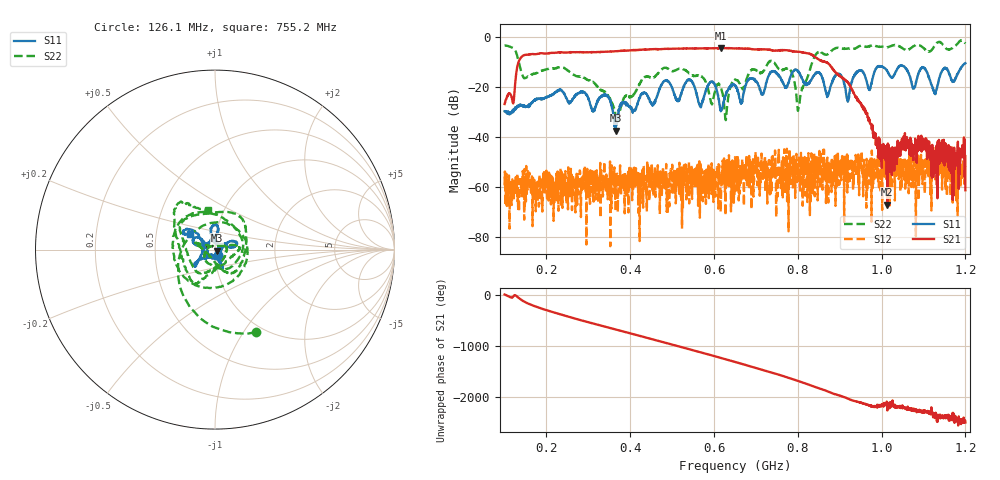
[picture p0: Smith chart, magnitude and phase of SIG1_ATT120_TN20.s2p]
# Hz S DB R 50
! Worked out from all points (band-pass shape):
!   1601 points, 100 MHz to 1.2 GHz, reference 50 ohm
!   highest |S21| = -4.54 dB at 617 MHz (marker M1); lowest = -67.0 dB at 1.014 GHz (marker M2)
!   |S21| within 3 dB of the highest: 144.6 MHz to 836.5 MHz (692 MHz wide, 141 % of centre)
!   lowest |S11| = -37.6 dB at 365.4 MHz (marker M3), VSWR 1.03, Z = 51.2 - j0.52 ohm
!   |S11| at or under -10 dB: start of sweep to end of sweep
!   |S22| runs from -33.8 to -1.5 dB; largest |S21 - S12| = 0.59
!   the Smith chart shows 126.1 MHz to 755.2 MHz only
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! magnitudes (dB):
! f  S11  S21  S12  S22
! 100 MHz  -29.8  -26.9  -59.4  -3.5
! 144 MHz  -27.9  -7.6  -56.1  -16.0
! 283.6 MHz  -22.2  -6.2  -61.4  -16.0
! 344.1 MHz  -23.4  -6.0  -57.1  -22.9
! 365.4 MHz  -37.6  -5.8  -69.9  -31.6
! 467.1 MHz  -22.3  -5.0  -55.4  -14.5
! 542.1 MHz  -17.2  -4.7  -57.0  -14.7
! 567.5 MHz  -27.9  -4.7  -59.4  -15.7
! 595.7 MHz  -17.8  -4.7  -55.0  -26.6
! 617 MHz  -29.1  -4.5  -59.5  -20.6
! 628.7 MHz  -22.6  -4.6  -60.0  -32.7
! 650 MHz  -19.5  -4.7  -48.1  -17.3
! 738.7 MHz  -13.9  -5.4  -50.1  -9.7
! 782.7 MHz  -15.9  -5.6  -58.8  -13.4
! 801.9 MHz  -14.0  -6.0  -56.6  -28.4
! 833.6 MHz  -16.8  -7.2  -53.9  -10.6
! 919.5 MHz  -26.0  -18.4  -58.3  -4.7
! 1.014 GHz  -13.8  -67.0  -54.2  -4.2
! 1.017 GHz  -15.0  -47.8  -59.9  -4.1
! 1.127 GHz  -22.9  -51.8  -55.5  -3.6
! 1.194 GHz  -11.5  -43.8  -53.6  -1.7
! 1.2 GHz  -10.6  -61.3  -51.5  -2.7
